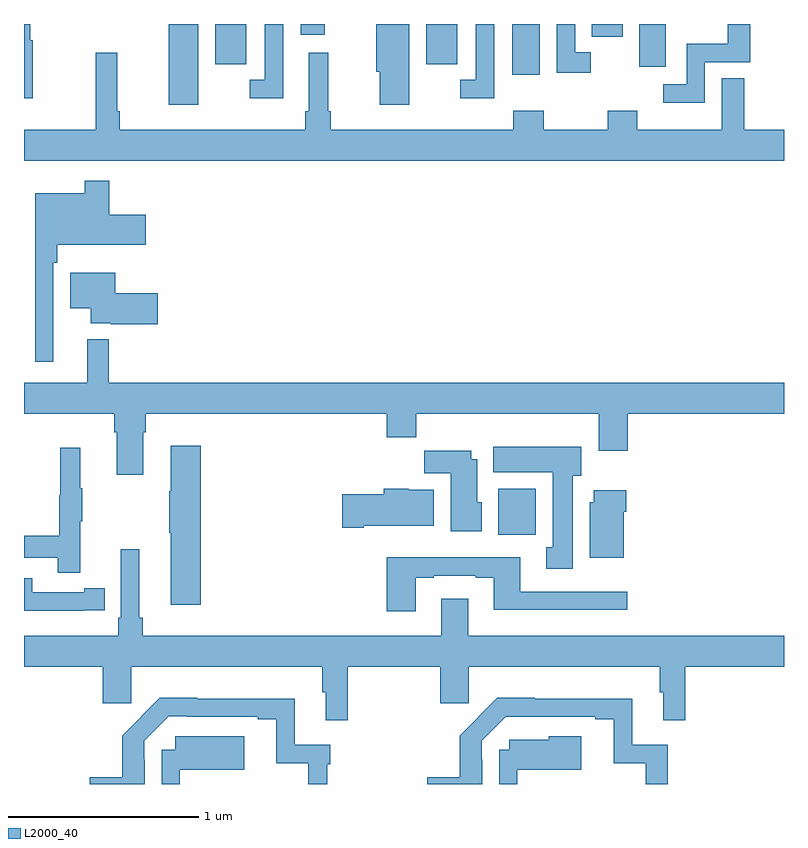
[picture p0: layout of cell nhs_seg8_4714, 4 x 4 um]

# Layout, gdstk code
import gdstk
lib = gdstk.Library(unit=1e-6, precision=1e-09)
def R(c, l, rs):  # rectangles x0, y0, x1, y1
    for r in rs: c.add(gdstk.rectangle(r[:2], r[2:], *l))
def P(c, l, *ps):  # polygons
    for p in ps: c.add(gdstk.Polygon(p, *l))
L2000_40 = (2000, 40)

nhs_seg8_4714 = lib.new_cell('nhs_seg8_4714')
R(nhs_seg8_4714, L2000_40, [(399.497,1101.212,399.694,1101.454), (397.763,1103.475,397.918,1103.9), (399.569,1103.634,399.715,1103.9), (400.238,1103.676,400.378,1103.9), (398.006,1103.688,398.17,1103.9), (399.116,1103.688,399.28,1103.9), (399.989,1103.832,400.15,1103.9), (398.456,1103.843,398.584,1103.9)])
P(nhs_seg8_4714, L2000_40, [(397.045,1103.814),(397.034,1103.814),(397.034,1103.9),(397,1103.9),(397,1103.51),(397.045,1103.51)],
  [(399.028,1103.9),(398.855,1103.9),(398.855,1103.649),(398.873,1103.649),(398.873,1103.475),(399.028,1103.475)],
  [(398.365,1103.736),(398.364,1103.736),(398.364,1103.9),(398.268,1103.9),(398.268,1103.607),(398.187,1103.607),(398.187,1103.51),(398.365,1103.51)],
  [(400.584,1103.7),(400.822,1103.7),(400.822,1103.9),(400.703,1103.9),(400.703,1103.796),(400.488,1103.796),(400.488,1103.583),(400.365,1103.583),(400.365,1103.486),(400.584,1103.486)],
  [(399.982,1103.751),(399.9,1103.751),(399.9,1103.9),(399.804,1103.9),(399.804,1103.643),(399.982,1103.643)],
  [(399.474,1103.9),(399.378,1103.9),(399.378,1103.607),(399.297,1103.607),(399.297,1103.51),(399.474,1103.51)],
  [(401,1103.344),(400.792,1103.344),(400.792,1103.615),(400.673,1103.615),(400.673,1103.344),(400.227,1103.344),(400.227,1103.443),(400.072,1103.443),(400.072,1103.344),(399.735,1103.344),(399.735,1103.443),(399.575,1103.443),(399.575,1103.344),(398.615,1103.344),(398.615,1103.44),(398.6,1103.44),(398.6,1103.749),(398.498,1103.749),(398.498,1103.44),(398.479,1103.44),(398.479,1103.344),(397.505,1103.344),(397.505,1103.44),(397.49,1103.44),(397.49,1103.749),(397.377,1103.749),(397.377,1103.344),(397,1103.344),(397,1103.18),(401,1103.18)],
  [(397.155,1102.643),(397.175,1102.643),(397.175,1102.739),(397.642,1102.739),(397.642,1102.897),(397.448,1102.897),(397.448,1103.074),(397.32,1103.074),(397.32,1103.008),(397.058,1103.008),(397.058,1102.122),(397.155,1102.122)],
  [(397.705,1102.483),(397.48,1102.483),(397.48,1102.591),(397.244,1102.591),(397.244,1102.403),(397.352,1102.403),(397.352,1102.325),(397.456,1102.325),(397.456,1102.32),(397.705,1102.32)],
  [(397.627,1101.752),(397.64,1101.752),(397.64,1101.848),(398.909,1101.848),(398.909,1101.724),(399.065,1101.724),(399.065,1101.848),(400.025,1101.848),(400.025,1101.654),(400.178,1101.654),(400.178,1101.848),(401,1101.848),(401,1102.012),(397.446,1102.012),(397.446,1102.24),(397.334,1102.24),(397.334,1102.012),(397,1102.012),(397,1101.848),(397.475,1101.848),(397.475,1101.752),(397.487,1101.752),(397.487,1101.528),(397.627,1101.528)],
  [(397.931,1101.679),(397.772,1101.679),(397.772,1101.44),(397.765,1101.44),(397.765,1101.223),(397.772,1101.223),(397.772,1100.844),(397.931,1100.844)],
  [(399.889,1101.522),(399.934,1101.522),(399.934,1101.676),(399.47,1101.676),(399.47,1101.542),(399.782,1101.542),(399.782,1101.146),(399.749,1101.146),(399.749,1101.033),(399.889,1101.033)],
  [(397.295,1101.283),(397.306,1101.283),(397.306,1101.457),(397.295,1101.457),(397.295,1101.67),(397.192,1101.67),(397.192,1101.42),(397.185,1101.42),(397.185,1101.206),(397,1101.206),(397,1101.09),(397.177,1101.09),(397.177,1101.012),(397.295,1101.012)],
  [(399.409,1101.384),(399.385,1101.384),(399.385,1101.61),(399.355,1101.61),(399.355,1101.655),(399.106,1101.655),(399.106,1101.536),(399.245,1101.536),(399.245,1101.23),(399.409,1101.23)],
  [(398.788,1101.26),(399.157,1101.26),(399.157,1101.448),(399.024,1101.448),(399.024,1101.454),(398.894,1101.454),(398.894,1101.426),(398.676,1101.426),(398.676,1101.248),(398.788,1101.248)],
  [(400.156,1101.332),(400.169,1101.332),(400.169,1101.445),(399.998,1101.445),(399.998,1101.384),(399.977,1101.384),(399.977,1101.092),(400.156,1101.092)],
  [(398.705,1100.516),(399.191,1100.516),(399.191,1100.325),(399.341,1100.325),(399.341,1100.516),(400.345,1100.516),(400.345,1100.384),(400.364,1100.384),(400.364,1100.235),(400.481,1100.235),(400.481,1100.516),(401,1100.516),(401,1100.68),(399.337,1100.68),(399.337,1100.875),(399.197,1100.875),(399.197,1100.68),(397.625,1100.68),(397.625,1100.776),(397.606,1100.776),(397.606,1101.136),(397.509,1101.136),(397.509,1100.776),(397.496,1100.776),(397.496,1100.68),(397,1100.68),(397,1100.516),(397.415,1100.516),(397.415,1100.325),(397.565,1100.325),(397.565,1100.516),(398.569,1100.516),(398.569,1100.384),(398.588,1100.384),(398.588,1100.235),(398.705,1100.235)],
  [(399.061,1100.985),(399.157,1100.985),(399.157,1100.997),(399.377,1100.997),(399.377,1100.985),(399.473,1100.985),(399.473,1100.816),(400.174,1100.816),(400.174,1100.913),(399.613,1100.913),(399.613,1101.094),(398.909,1101.094),(398.909,1100.808),(399.061,1100.808)],
  [(397.316,1100.814),(397.424,1100.814),(397.424,1100.93),(397.316,1100.93),(397.316,1100.91),(397.044,1100.91),(397.044,1100.982),(397,1100.982),(397,1100.813),(397.316,1100.813)],
  [(399.411,1100.027),(399.408,1100.027),(399.408,1100.127),(399.536,1100.255),(399.637,1100.255),(399.637,1100.253),(400.007,1100.253),(400.007,1100.241),(400.103,1100.241),(400.103,1100.01),(400.272,1100.01),(400.272,1099.9),(400.388,1099.9),(400.388,1100.106),(400.201,1100.106),(400.201,1100.35),(399.689,1100.35),(399.689,1100.353),(399.49,1100.353),(399.293,1100.155),(399.293,1099.936),(399.122,1099.936),(399.122,1099.9),(399.411,1099.9)],
  [(397.635,1100.027),(397.632,1100.027),(397.632,1100.127),(397.761,1100.256),(397.861,1100.256),(397.861,1100.253),(398.231,1100.253),(398.231,1100.241),(398.327,1100.241),(398.327,1100.01),(398.496,1100.01),(398.496,1099.9),(398.597,1099.9),(398.597,1100.003),(398.612,1100.003),(398.612,1100.106),(398.425,1100.106),(398.425,1100.35),(397.913,1100.35),(397.913,1100.353),(397.714,1100.353),(397.517,1100.155),(397.517,1099.936),(397.346,1099.936),(397.346,1099.9),(397.635,1099.9)],
  [(397.821,1099.976),(398.158,1099.976),(398.158,1100.152),(397.797,1100.152),(397.797,1100.079),(397.725,1100.079),(397.725,1099.9),(397.821,1099.9)],
  [(399.597,1099.976),(399.934,1099.976),(399.934,1100.152),(399.762,1100.152),(399.762,1100.134),(399.555,1100.134),(399.555,1100.079),(399.501,1100.079),(399.501,1099.9),(399.597,1099.9)])

lib.write_gds('nhs_seg8_4714.gds')
